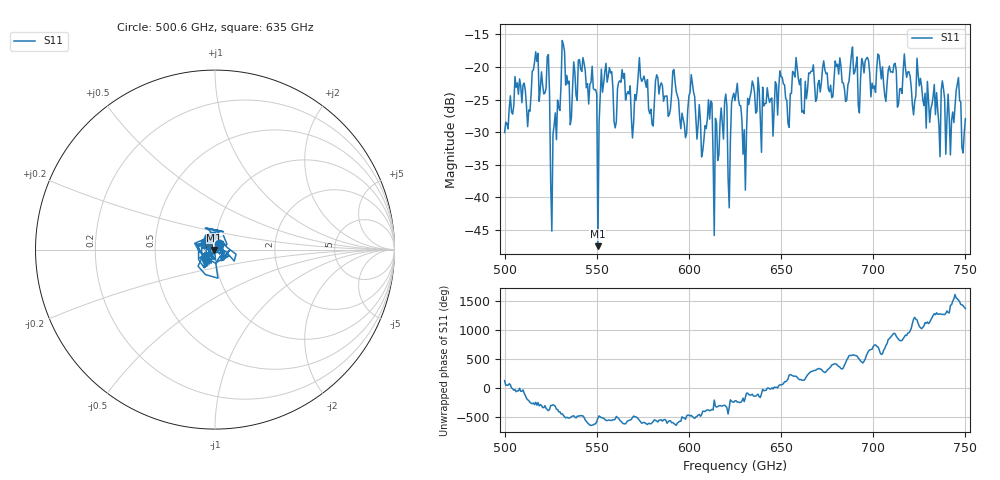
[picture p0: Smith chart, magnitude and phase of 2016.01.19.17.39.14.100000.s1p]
!Created with skrf (http://scikit-rf.org).
# GHz S RI R 50.0
!freq ReS11 ImS11
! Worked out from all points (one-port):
!   401 points, 500 GHz to 750 GHz, reference 50 ohm
!   lowest |S11| = -47.5 dB at 550.6 GHz (marker M1), VSWR 1.01, Z = 49.6 - j0.14 ohm
!   |S11| at or under -10 dB: start of sweep to end of sweep
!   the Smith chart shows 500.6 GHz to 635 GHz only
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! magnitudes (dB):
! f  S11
! 500 GHz  -30.1
! 506.9 GHz  -22.4
! 513.1 GHz  -26.6
! 516.9 GHz  -17.7
! 523.1 GHz  -18.4
! 526.2 GHz  -30.3
! 531.2 GHz  -15.9
! 548.1 GHz  -23.3
! 550.6 GHz  -47.5
! 553.8 GHz  -22.5
! 562.5 GHz  -22.1
! 593.8 GHz  -24.4
! 598.1 GHz  -30.9
! 601.9 GHz  -22.5
! 608.1 GHz  -31.2
! 611.2 GHz  -28.0
! 614.4 GHz  -27.9
! 618.8 GHz  -31.1
! 622.5 GHz  -31.3
! 625 GHz  -25.2
! 630 GHz  -29.6
! 634.4 GHz  -22.2
! 656.2 GHz  -20.7
! 687.5 GHz  -20.1
! 718.8 GHz  -20.8
! 740.6 GHz  -24.2
! 746.2 GHz  -21.6
! 750 GHz  -28.0
